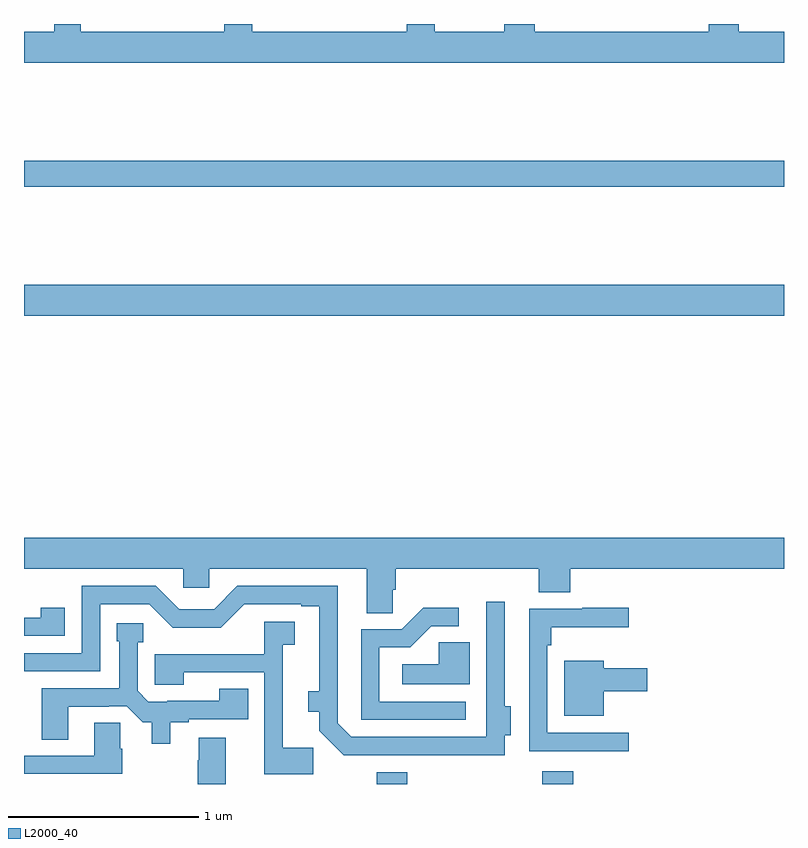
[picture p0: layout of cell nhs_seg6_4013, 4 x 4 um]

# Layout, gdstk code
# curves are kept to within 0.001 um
import gdstk
lib = gdstk.Library(unit=1e-6, precision=1e-09)
def R(c, l, rs):  # rectangles x0, y0, x1, y1
    for r in rs: c.add(gdstk.rectangle(r[:2], r[2:], *l))
def P(c, l, *ps):  # polygons
    for p in ps: c.add(gdstk.Polygon(p, *l))
L2000_40 = (2000, 40)

nhs_seg6_4013 = lib.new_cell('nhs_seg6_4013')
R(nhs_seg6_4013, L2000_40, [(348.856,983.5,349.016,983.563), (349.727,983.5,349.892,983.566), (347,985.964,351,986.128), (347,986.644,351,986.78)])
P(nhs_seg6_4013, L2000_40, [(351,987.46),(350.763,987.46),(350.763,987.5),(350.603,987.5),(350.603,987.46),(349.688,987.46),(349.688,987.5),(349.528,987.5),(349.528,987.46),(349.161,987.46),(349.161,987.5),(349.014,987.5),(349.014,987.46),(348.201,987.46),(348.201,987.5),(348.053,987.5),(348.053,987.46),(347.299,987.46),(347.299,987.5),(347.159,987.5),(347.159,987.46),(347,987.46),(347,987.296),(351,987.296)],
  [(348.942,984.523),(348.956,984.523),(348.956,984.632),(349.709,984.632),(349.709,984.508),(349.874,984.508),(349.874,984.632),(351,984.632),(351,984.796),(347,984.796),(347,984.632),(347.838,984.632),(347.838,984.534),(347.976,984.534),(347.976,984.632),(348.803,984.632),(348.803,984.4),(348.942,984.4)],
  [(348.784,983.652),(349.53,983.651),(349.53,983.756),(349.561,983.756),(349.561,983.909),(349.53,983.909),(349.53,984.46),(349.434,984.46),(349.434,983.748),(348.723,983.748),(348.651,983.82),(348.651,984.543),(348.123,984.543),(348,984.42),(347.817,984.42),(347.694,984.543),(347.304,984.543),(347.304,984.189),(347,984.189),(347,984.093),(347.4,984.093),(347.4,984.447),(347.658,984.447),(347.782,984.323),(348.036,984.323),(348.16,984.447),(348.458,984.447),(348.458,984.435),(348.554,984.435),(348.554,983.989),(348.497,983.989),(348.497,983.879),(348.554,983.879),(348.554,983.78),(348.683,983.651)],
  [(349.324,983.934),(348.87,983.934),(348.87,984.219),(349.032,984.219),(349.143,984.33),(349.288,984.33),(349.288,984.428),(349.1,984.428),(348.987,984.315),(348.774,984.315),(348.774,983.838),(349.324,983.838)],
  [(350.182,983.769),(349.755,983.769),(349.755,984.23),(349.775,984.23),(349.775,984.326),(350.182,984.326),(350.182,984.427),(349.937,984.427),(349.937,984.423),(349.659,984.423),(349.659,983.673),(350.182,983.673)],
  [(347.215,984.427),(347.087,984.427),(347.087,984.376),(347,984.376),(347,984.279),(347.215,984.279)],
  [(348.522,983.691),(348.361,983.691),(348.361,984.234),(348.424,984.234),(348.424,984.355),(348.264,984.355),(348.264,984.184),(347.797,984.184),(347.797,984.183),(347.687,984.183),(347.687,984.022),(347.841,984.022),(347.841,984.087),(348.264,984.087),(348.264,983.552),(348.522,983.552)],
  [(347.77,983.826),(347.866,983.826),(347.866,983.841),(348.179,983.841),(348.179,984.002),(348.028,984.002),(348.028,983.937),(347.755,983.937),(347.755,983.934),(347.655,983.934),(347.598,983.991),(347.598,984.247),(347.628,984.247),(347.628,984.345),(347.489,984.345),(347.489,984.252),(347.502,984.252),(347.502,984.003),(347.093,984.003),(347.093,983.734),(347.233,983.734),(347.233,983.907),(347.447,983.907),(347.447,983.91),(347.541,983.91),(347.625,983.826),(347.672,983.826),(347.672,983.712),(347.77,983.712)],
  [(349.345,984.245),(349.182,984.245),(349.182,984.13),(348.99,984.13),(348.99,984.026),(349.345,984.026)],
  [(350.05,983.987),(350.281,983.987),(350.281,984.109),(350.05,984.109),(350.05,984.148),(349.844,984.148),(349.844,983.858),(350.05,983.858)],
  [(347.517,983.685),(347.507,983.685),(347.507,983.822),(347.369,983.822),(347.369,983.649),(347,983.649),(347,983.553),(347.517,983.553)],
  [(348.061,983.743),(347.921,983.743),(347.921,983.624),(347.914,983.624),(347.914,983.5),(348.061,983.5)])

lib.write_gds('nhs_seg6_4013.gds')
